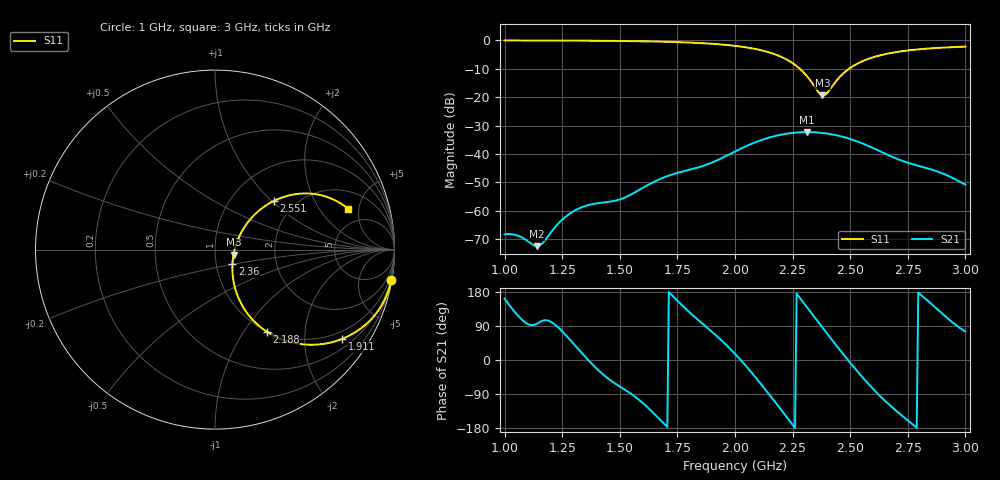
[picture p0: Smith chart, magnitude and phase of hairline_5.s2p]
! TOUCHSTONE file generated by CST MICROWAVE STUDIO
! Date and time: Tue Mar 18 20:31:36 2025
! Project name: hairline.cst
! Parameters = {B=12.5; D=160; F=15; Feed=2.85625; Fracture=1; L=100; M=50; R=0.384908; S=1.5; Theta=0; length=57.125; wave=114.25}
! Header version: 2024
! Port assignment regex: !\s*Touchstone port\s*([0-9]+)\s*=\s*(CST MWS port|CST DES external port|CST DES block port)\s*(.+)\s* \(\"(.*)\"\)(\s*mode\s*([0-9]+))?.*
! Touchstone port assignment:
! Touchstone port 1 = CST MWS port 1 ("")
! Touchstone port 2 = CST MWS port 2 ("")
# GHz S DB R 50
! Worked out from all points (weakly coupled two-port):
!   304 points, 1 GHz to 3 GHz, reference 50 ohm
!   highest |S21| = -32.32 dB at 2.314 GHz (marker M1); lowest = -72.5 dB at 1.139 GHz (marker M2)
!   lowest |S11| = -19.4 dB at 2.38 GHz (marker M3), VSWR 1.24, Z = 61.4 - j3.51 ohm
!   |S11| at or under -10 dB: 2.281 GHz to 2.495 GHz (213.5 MHz wide, 8.94 % of centre)
!   S12 and S22 are empty: the file has one direction only
!   S11 on the Smith chart (normalised r, x): 1 GHz: 0, -12; 1.911 GHz: 0.75, -3.00; 2.188 GHz: 0.99, -1.27; 2.36 GHz: 1.20, -0.20; 2.551 GHz: 1.56, +1.04; 3 GHz: 3.38, +3.86
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1  -0.02 -9.7  -68.36 161.9  -200.00 0.0  -200.00 0.0
1.05941  -0.03 -10.5  -68.88 116.1  -200.00 0.0  -200.00 0.0
1.13861  -0.04 -11.7  -72.53 95.3  -200.00 0.0  -200.00 0.0
1.16502  -0.04 -12.1  -71.46 103.7  -200.00 0.0  -200.00 0.0
1.25743  -0.07 -13.6  -62.64 70.9  -200.00 0.0  -200.00 0.0
1.33663  -0.10 -15.1  -58.76 17.2  -200.00 0.0  -200.00 0.0
1.50825  -0.20 -19.1  -55.82 -73.0  -200.00 0.0  -200.00 0.0
1.66667  -0.41 -23.9  -49.15 -152.3  -200.00 0.0  -200.00 0.0
1.91089  -1.25 -35.1  -42.68 68.6  -200.00 0.0  -200.00 0.0
2.0033  -1.95 -41.2  -39.02 14.2  -200.00 0.0  -200.00 0.0
2.18812  -5.36 -57.8  -33.43 -121.7  -200.00 0.0  -200.00 0.0
2.26073  -8.63 -63.7  -32.52 -179.5  -200.00 0.0  -200.00 0.0
2.31353  -12.72 -61.9  -32.32 138.2  -200.00 0.0  -200.00 0.0
2.33993  -15.62 -53.8  -32.36 117.1  -200.00 0.0  -200.00 0.0
2.35974  -17.97 -39.6  -32.46 101.3  -200.00 0.0  -200.00 0.0
2.37954  -19.40 -15.3  -32.62 85.6  -200.00 0.0  -200.00 0.0
2.39934  -18.59 10.7  -32.83 70.0  -200.00 0.0  -200.00 0.0
2.47855  -11.03 41.3  -34.23 8.8  -200.00 0.0  -200.00 0.0
2.55116  -7.41 39.6  -36.26 -44.0  -200.00 0.0  -200.00 0.0
2.66997  -4.54 31.9  -40.59 -118.3  -200.00 0.0  -200.00 0.0
2.89439  -2.58 20.5  -46.68 124.9  -200.00 0.0  -200.00 0.0
3  -2.20 16.9  -50.86 75.4  -200.00 0.0  -200.00 0.0
